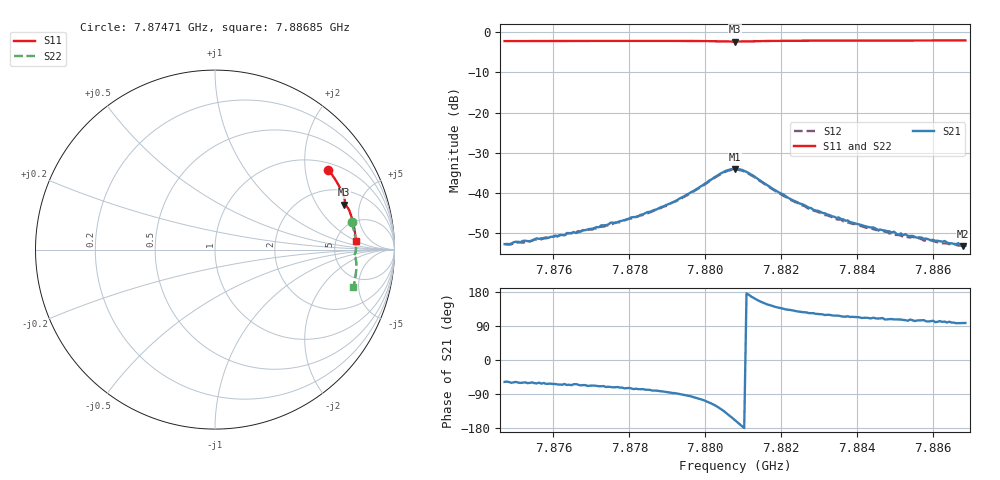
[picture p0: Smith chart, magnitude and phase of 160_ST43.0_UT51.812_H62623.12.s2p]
#  HZ  S  DB  R  50.00
! Rohde & Schwarz Vector Network Analyzer
! Rohde-Schwarz,ZNB20-2Port,1311601062101988,3.16
! Created: UTC 1/12/2023, 6:41:13 PM
! freq[Hz]  db:S11  ang:S11  db:S21  ang:S21  db:S12  ang:S12  db:S22  ang:S22
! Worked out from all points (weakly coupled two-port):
!   201 points, 7.87471 GHz to 7.88685 GHz, reference 50 ohm
!   highest |S21| = -33.99 dB at 7.88078 GHz (marker M1); lowest = -53.2 dB at 7.88678 GHz (marker M2)
!   lowest |S11| = -2.4 dB at 7.88078 GHz (marker M3), VSWR 7.42, Z = 148 + j178 ohm
!   |S11| at or under -10 dB: nowhere
!   |S22| runs from -2.3 to -1.9 dB; largest |S21 - S12| = 0.0013
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7.874715e9  -2.24 35.2  -52.68 -57.8  -52.72 -60.4  -2.19 11.2
7.876292e9  -2.22 30.9  -50.50 -63.2  -50.54 -67.9  -2.15 7.5
7.876352e9  -2.21 30.7  -49.93 -65.9  -50.10 -68.2  -2.14 7.4
7.876595e9  -2.21 30.1  -49.93 -63.6  -49.75 -70.3  -2.13 6.8
7.876777e9  -2.21 29.6  -49.21 -66.3  -49.27 -70.5  -2.14 6.4
7.877747e9  -2.20 26.9  -47.00 -72.7  -47.28 -76.4  -2.10 4.1
7.878778e9  -2.19 24.1  -43.75 -81.9  -43.87 -85.4  -2.09 1.6
7.879506e9  -2.21 22.0  -40.39 -93.4  -40.63 -96.9  -2.11 -0.2
7.880416e9  -2.31 19.5  -35.08 -129.9  -35.24 -133.4  -2.21 -2.2
7.88078e9  -2.35 19.2  -33.99 -159.0  -34.18 -162.2  -2.25 -2.4
7.881083e9  -2.31 18.9  -34.73 175.8  -34.90 172.8  -2.22 -2.6
7.882175e9  -2.17 16.1  -41.17 132.5  -41.38 129.3  -2.05 -4.8
7.882842e9  -2.14 14.2  -44.15 123.7  -44.38 120.0  -2.01 -6.4
7.883813e9  -2.12 11.6  -47.24 113.5  -47.49 110.5  -1.99 -8.6
7.884844e9  -2.11 8.9  -49.49 107.9  -50.06 104.1  -1.97 -10.9
7.885086e9  -2.10 8.3  -50.34 106.6  -50.44 102.7  -1.96 -11.5
7.885147e9  -2.10 8.1  -50.02 106.8  -50.59 102.0  -1.96 -11.6
7.885754e9  -2.09 6.5  -51.38 105.2  -51.85 99.0  -1.96 -12.9
7.885935e9  -2.09 6.0  -51.72 102.4  -51.73 98.4  -1.96 -13.4
7.886663e9  -2.09 4.1  -52.45 97.3  -53.08 96.8  -1.95 -14.9
7.886785e9  -2.08 3.8  -53.15 97.9  -53.20 95.3  -1.95 -15.1
7.886845e9  -2.08 3.7  -53.09 97.7  -53.13 95.4  -1.95 -15.3
